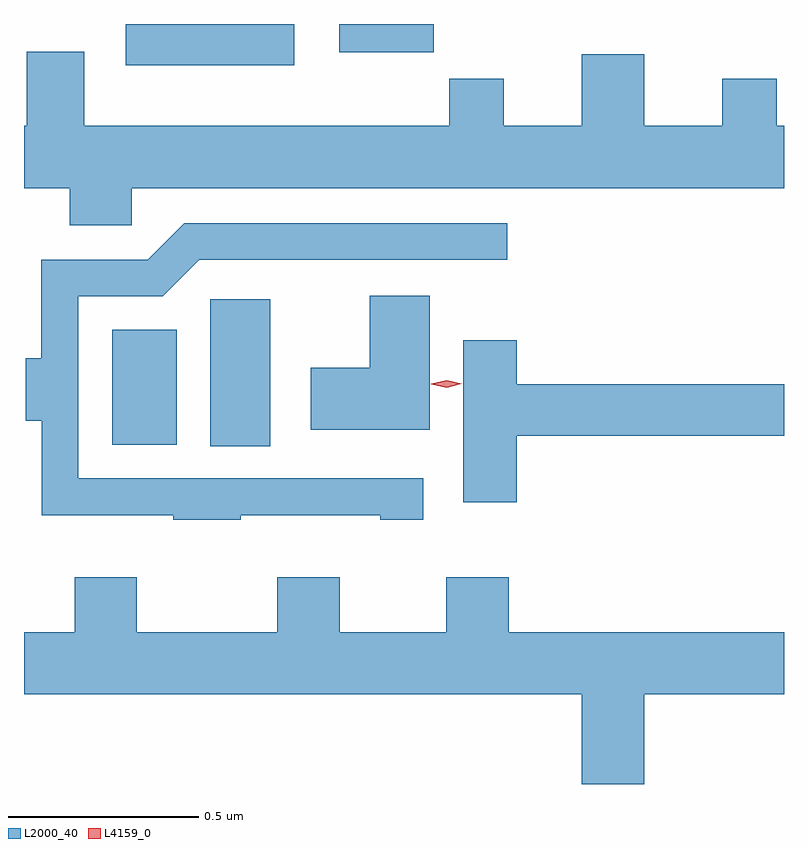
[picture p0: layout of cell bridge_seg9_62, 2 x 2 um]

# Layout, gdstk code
import gdstk
lib = gdstk.Library(unit=1e-6, precision=1e-09)
def R(c, l, rs):  # rectangles x0, y0, x1, y1
    for r in rs: c.add(gdstk.rectangle(r[:2], r[2:], *l))
def P(c, l, *ps):  # polygons
    for p in ps: c.add(gdstk.Polygon(p, *l))
L2000_40 = (2000, 40)
L4159_0 = (4159, 0)

bridge_seg9_62 = lib.new_cell('bridge_seg9_62')
R(bridge_seg9_62, L2000_40, [(1087.106,1207.729,1087.264,1208.116), (1086.848,1207.733,1087.018,1208.035), (1086.884,1208.732,1087.327,1208.84), (1087.445,1208.766,1087.694,1208.84)])
P(bridge_seg9_62, L2000_40, [(1086.623,1208.572),(1086.616,1208.572),(1086.616,1208.408),(1086.737,1208.408),(1086.737,1208.31),(1086.9,1208.31),(1086.9,1208.408),(1088.616,1208.408),(1088.616,1208.572),(1088.597,1208.572),(1088.597,1208.696),(1088.453,1208.696),(1088.453,1208.572),(1088.248,1208.572),(1088.248,1208.761),(1088.084,1208.761),(1088.084,1208.572),(1087.879,1208.572),(1087.879,1208.696),(1087.735,1208.696),(1087.735,1208.572),(1086.775,1208.572),(1086.775,1208.767),(1086.623,1208.767)],
  [(1087.187,1207.547),(1087.553,1207.547),(1087.553,1207.536),(1087.666,1207.536),(1087.666,1207.644),(1086.759,1207.644),(1086.759,1208.124),(1086.981,1208.124),(1087.077,1208.22),(1087.888,1208.22),(1087.888,1208.316),(1087.038,1208.316),(1086.942,1208.22),(1086.662,1208.22),(1086.662,1207.96),(1086.62,1207.96),(1086.62,1207.796),(1086.663,1207.796),(1086.663,1207.547),(1087.009,1207.547),(1087.009,1207.536),(1087.187,1207.536)],
  [(1087.684,1208.125),(1087.526,1208.125),(1087.526,1207.936),(1087.371,1207.936),(1087.371,1207.772),(1087.684,1207.772)],
  [(1087.913,1207.756),(1088.616,1207.756),(1088.616,1207.892),(1087.913,1207.892),(1087.913,1208.008),(1087.772,1208.008),(1087.772,1207.581),(1087.913,1207.581)],
  [(1088.248,1207.076),(1088.616,1207.076),(1088.616,1207.24),(1087.891,1207.24),(1087.891,1207.384),(1087.727,1207.384),(1087.727,1207.24),(1087.447,1207.24),(1087.447,1207.384),(1087.283,1207.384),(1087.283,1207.24),(1086.913,1207.24),(1086.913,1207.384),(1086.749,1207.384),(1086.749,1207.24),(1086.616,1207.24),(1086.616,1207.076),(1088.084,1207.076),(1088.084,1206.84),(1088.248,1206.84)])
P(bridge_seg9_62, L4159_0, [(1087.728,1207.883),(1087.688,1207.892),(1087.688,1207.892),(1087.688,1207.893),(1087.728,1207.903),(1087.768,1207.893),(1087.768,1207.893),(1087.768,1207.893)])

lib.write_gds('bridge_seg9_62.gds')
